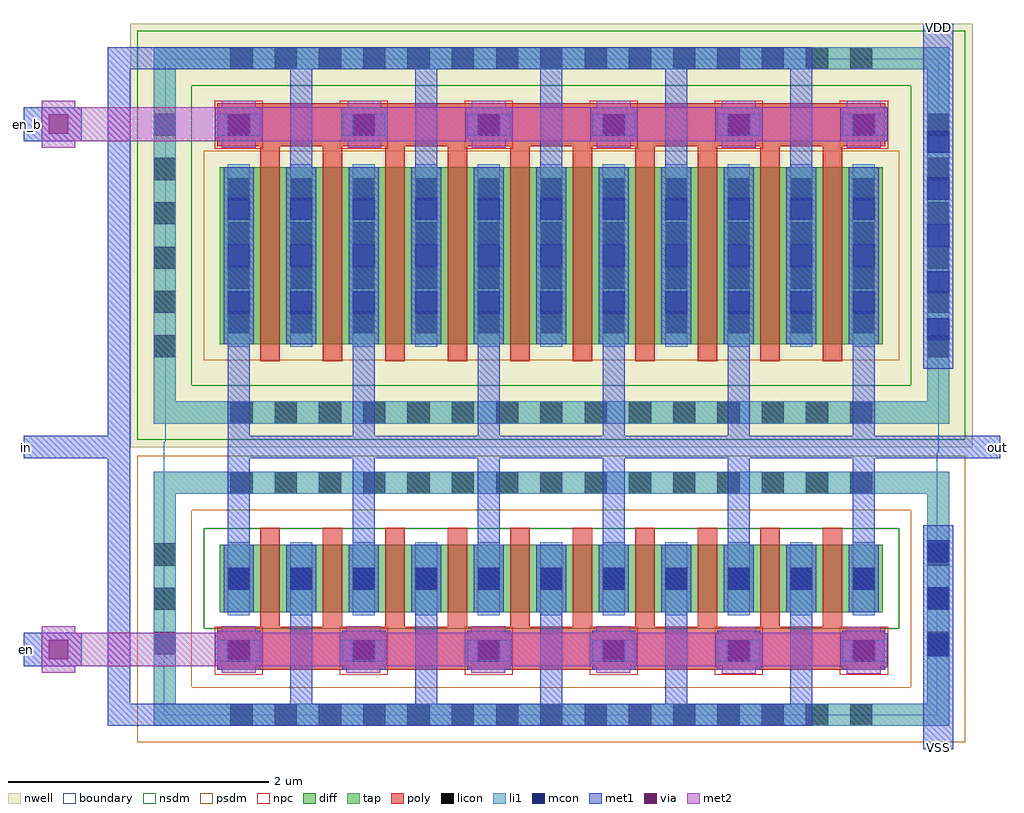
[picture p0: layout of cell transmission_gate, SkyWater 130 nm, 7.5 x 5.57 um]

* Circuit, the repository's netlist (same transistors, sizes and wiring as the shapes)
* transmission_gate
.subckt transmission_gate in out en en_b VDD VSS N=1 W_N=5.3 L_N=0.15 W_P=13.7 L_P=0.15
XM1 out en in VSS sky130_fd_pr__nfet_01v8 L=0.15 W=5.3 nf=10 ad='int((nf+1)/2) * W/nf * 0.29' as='int((nf+2)/2) * W/nf * 0.29'
+ pd='2*int((nf+1)/2) * (W/nf + 0.29)' ps='2*int((nf+2)/2) * (W/nf + 0.29)' nrd='0.29 / W' nrs='0.29 / W'
+ sa=0 sb=0 sd=0 mult='N' m='N' 
XM2 out en_b in VDD sky130_fd_pr__pfet_01v8 L=0.15 W=13.7 nf=10 ad='int((nf+1)/2) * W/nf * 0.29' as='int((nf+2)/2) * W/nf * 0.29'
+ pd='2*int((nf+1)/2) * (W/nf + 0.29)' ps='2*int((nf+2)/2) * (W/nf + 0.29)' nrd='0.29 / W' nrs='0.29 / W'
+ sa=0 sb=0 sd=0 mult='N' m='N' 
.ends

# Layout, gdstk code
from math import pi, radians
import gdstk
lib = gdstk.Library(unit=1e-6, precision=1e-09)
def R(c, l, rs):  # rectangles x0, y0, x1, y1
    for r in rs: c.add(gdstk.rectangle(r[:2], r[2:], *l))
def A(c, l, x, y, w, h, nx, ny, dx, dy):  # array of equal rectangles
    R(c, l, [(x+i*dx, y+j*dy, x+i*dx+w, y+j*dy+h) for i in range(nx) for j in range(ny)])
nwell = (64, 20)
diff = (65, 20)
tap = (65, 44)
poly = (66, 20)
licon = (66, 44)
li1 = (67, 20)
mcon = (67, 44)
met1 = (68, 20)
via = (68, 44)
met2 = (69, 20)
nsdm = (93, 44)
psdm = (94, 20)
npc = (95, 20)
boundary = (235, 4)

sky130_fd_pr__pfet_01v8_ = lib.new_cell('sky130_fd_pr__pfet_01v8_UNG2NQ')
R(sky130_fd_pr__pfet_01v8_, nwell, [(-3.23,-1.78,3.24,1.47)])
R(sky130_fd_pr__pfet_01v8_, diff, [(-2.54,-0.68,2.55,0.68)])
R(sky130_fd_pr__pfet_01v8_, tap, [(-3.05,-1.6,3.06,-1.43), (-3.05,-1.43,-2.88,1.12), (2.89,-1.43,3.06,1.12), (-3.05,1.12,3.06,1.29)])
A(sky130_fd_pr__pfet_01v8_, poly, -2.23, -0.84, 0.15, 1.65, 10, 1, 0.48, 0)
R(sky130_fd_pr__pfet_01v8_, poly, [(-2.56,-1.17,2.57,-0.84)])
A(sky130_fd_pr__pfet_01v8_, licon, -2.46, -1.6, 0.17, 0.17, 15, 2, 0.34, 2.72)
A(sky130_fd_pr__pfet_01v8_, licon, -3.05, -1.09, 0.17, 0.17, 1, 6, 0, 0.34)
A(sky130_fd_pr__pfet_01v8_, licon, -2.48, -1.09, 0.17, 0.17, 6, 1, 0.96, 0)
A(sky130_fd_pr__pfet_01v8_, licon, 2.89, -1.09, 0.17, 0.17, 1, 6, 0, 0.34)
A(sky130_fd_pr__pfet_01v8_, licon, -2.48, -0.595, 0.17, 0.17, 11, 4, 0.48, 0.34)
A(sky130_fd_pr__pfet_01v8_, li1, -2.56, -1.09, 0.33, 0.17, 6, 1, 0.96, 0)
A(sky130_fd_pr__pfet_01v8_, li1, -2.48, -0.7, 0.17, 1.4, 11, 1, 0.48, 0)
R(sky130_fd_pr__pfet_01v8_, li1, [(-3.05,-1.6,3.06,-1.43), (-3.05,-1.43,-2.88,1.12), (2.89,-1.43,3.06,1.12), (-3.05,1.12,3.06,1.29)])
A(sky130_fd_pr__pfet_01v8_, mcon, -2.48, -1.09, 0.17, 0.17, 6, 1, 0.96, 0)
A(sky130_fd_pr__pfet_01v8_, mcon, -2.48, -0.445, 0.17, 0.17, 11, 3, 0.48, 0.36)
A(sky130_fd_pr__pfet_01v8_, met1, -2.56, -1.13, 0.33, 0.25, 6, 1, 0.96, 0)
A(sky130_fd_pr__pfet_01v8_, met1, -2.51, -0.68, 0.23, 1.36, 11, 1, 0.48, 0)
R(sky130_fd_pr__pfet_01v8_, nsdm, [(-3.175,-1.725,3.185,-1.305), (-3.175,-1.305,-2.755,0.995), (2.765,-1.305,3.185,0.995), (-3.175,0.995,3.185,1.415)])
R(sky130_fd_pr__pfet_01v8_, psdm, [(-2.665,-0.805,2.675,0.805)])
A(sky130_fd_pr__pfet_01v8_, npc, -2.58, -1.19, 0.37, 0.37, 6, 1, 0.96, 0)
R(sky130_fd_pr__pfet_01v8_, boundary, [(-2.97,-1.51,2.97,1.51)])

sky130_fd_pr__nfet_01v8_ = lib.new_cell('sky130_fd_pr__nfet_01v8_6J4AMR')
R(sky130_fd_pr__nfet_01v8_, diff, [(-2.54,-0.26,2.55,0.26)])
R(sky130_fd_pr__nfet_01v8_, tap, [(-3.05,-1.13,3.06,-0.96), (-3.05,-0.96,-2.88,0.65), (2.89,-0.96,3.06,0.65), (-3.05,0.65,3.06,0.82)])
A(sky130_fd_pr__nfet_01v8_, poly, -2.23, -0.37, 0.15, 0.76, 10, 1, 0.48, 0)
R(sky130_fd_pr__nfet_01v8_, poly, [(-2.56,-0.7,2.57,-0.37)])
A(sky130_fd_pr__nfet_01v8_, licon, -2.46, -1.13, 0.17, 0.17, 15, 2, 0.34, 1.78)
A(sky130_fd_pr__nfet_01v8_, licon, -2.48, -0.64, 0.17, 0.17, 6, 1, 0.96, 0)
A(sky130_fd_pr__nfet_01v8_, licon, -3.05, -0.58, 0.17, 0.17, 1, 3, 0, 0.34)
A(sky130_fd_pr__nfet_01v8_, licon, 2.89, -0.58, 0.17, 0.17, 1, 3, 0, 0.34)
A(sky130_fd_pr__nfet_01v8_, licon, -2.48, -0.085, 0.17, 0.17, 11, 1, 0.48, 0)
A(sky130_fd_pr__nfet_01v8_, li1, -2.56, -0.64, 0.33, 0.17, 6, 1, 0.96, 0)
A(sky130_fd_pr__nfet_01v8_, li1, -2.48, -0.28, 0.17, 0.56, 11, 1, 0.48, 0)
R(sky130_fd_pr__nfet_01v8_, li1, [(-3.05,-1.13,3.06,-0.96), (-3.05,-0.96,-2.88,0.65), (2.89,-0.96,3.06,0.65), (-3.05,0.65,3.06,0.82)])
A(sky130_fd_pr__nfet_01v8_, mcon, -2.48, -0.64, 0.17, 0.17, 6, 1, 0.96, 0)
A(sky130_fd_pr__nfet_01v8_, mcon, -2.48, -0.085, 0.17, 0.17, 11, 1, 0.48, 0)
A(sky130_fd_pr__nfet_01v8_, met1, -2.56, -0.7, 0.33, 0.3, 6, 1, 0.96, 0)
A(sky130_fd_pr__nfet_01v8_, met1, -2.51, -0.26, 0.23, 0.52, 11, 1, 0.48, 0)
R(sky130_fd_pr__nfet_01v8_, nsdm, [(-2.665,-0.385,2.675,0.385)])
R(sky130_fd_pr__nfet_01v8_, psdm, [(-3.175,-1.255,3.185,-0.835), (-3.175,-0.835,-2.755,0.525), (2.765,-0.835,3.185,0.525), (-3.175,0.525,3.185,0.945)])
A(sky130_fd_pr__nfet_01v8_, npc, -2.58, -0.74, 0.37, 0.37, 6, 1, 0.96, 0)
R(sky130_fd_pr__nfet_01v8_, boundary, [(-2.97,-1.05,2.97,1.05)])

transmission_gate = lib.new_cell('transmission_gate')
R(transmission_gate, li1, [(5.855,0.405,6.025,1.405), (5.855,2.725,6.025,4.655)])
A(transmission_gate, mcon, 5.855, 0.46, 0.17, 0.17, 1, 3, 0, 0.36)
A(transmission_gate, mcon, 5.855, 2.885, 0.17, 0.17, 1, 5, 0, 0.36)
A(transmission_gate, met1, 0.965, 0.095, 0.17, 0.805, 5, 2, 0.96, 4.065)
A(transmission_gate, met1, 1.345, 0.38, 0.36, 0.26, 3, 1, 0.96, 0)
A(transmission_gate, met1, 0.485, 1.265, 0.17, 0.715, 6, 1, 0.96, 0)
A(transmission_gate, met1, 0.485, 2.15, 0.17, 0.89, 6, 1, 0.96, 0)
A(transmission_gate, met1, 2.31, 4.415, 0.36, 0.26, 4, 1, 0.96, 0)
R(transmission_gate, met1, [(5.825,-0.255,6.055,1.465), (-0.435,-0.075,4.975,0.095), (-0.435,0.095,-0.265,1.98), (4.23,0.375,4.59,0.635), (5.19,0.375,5.55,0.635), (-1.08,0.38,-0.635,0.64), (0.39,0.38,0.75,0.64), (-1.08,1.98,-0.265,2.15), (0.485,1.98,6.415,2.15), (-0.435,2.15,-0.265,4.965), (5.825,2.665,6.055,5.315), (-1.08,4.415,-0.635,4.675), (0.39,4.415,0.75,4.675), (1.355,4.415,1.715,4.675), (-0.435,4.965,4.975,5.135)])
A(transmission_gate, via, 1.45, 0.435, 0.15, 0.15, 3, 1, 0.96, 0)
A(transmission_gate, via, 2.415, 4.47, 0.15, 0.15, 4, 1, 0.96, 0)
R(transmission_gate, via, [(4.335,0.43,4.485,0.58), (5.295,0.43,5.445,0.58), (-0.89,0.435,-0.74,0.585), (0.495,0.435,0.645,0.585), (-0.89,4.47,-0.74,4.62), (0.495,4.47,0.645,4.62), (1.46,4.47,1.61,4.62)])
A(transmission_gate, met2, 1.395, 0.33, 0.26, 0.05, 3, 2, 0.96, 0.31)
A(transmission_gate, met2, 2.36, 4.365, 0.26, 0.05, 4, 2, 0.96, 0.31)
R(transmission_gate, met2, [(4.28,0.325,4.54,0.38), (5.24,0.325,5.5,0.38), (-0.945,0.33,-0.685,0.38), (0.44,0.33,0.7,0.38), (-0.945,0.38,5.535,0.64), (-0.945,0.64,-0.685,0.69), (0.44,0.64,0.7,0.69), (4.28,0.64,4.54,0.685), (5.24,0.64,5.5,0.685), (-0.945,4.365,-0.685,4.415), (0.44,4.365,0.7,4.415), (1.405,4.365,1.665,4.415), (-0.945,4.415,5.535,4.675), (-0.945,4.675,-0.685,4.725), (0.44,4.675,0.7,4.725), (1.405,4.675,1.665,4.725)])
transmission_gate.add(gdstk.Reference(sky130_fd_pr__pfet_01v8_, (2.975,3.535), rotation=pi))
transmission_gate.add(gdstk.Reference(sky130_fd_pr__nfet_01v8_, (2.965,1.055)))
transmission_gate.add(gdstk.Label('in', (-1.06,2.065), layer=68, texttype=16))
transmission_gate.add(gdstk.Label('out', (6.395,2.06), layer=68, texttype=16))
transmission_gate.add(gdstk.Label('en', (-1.06,0.51), layer=68, texttype=16))
transmission_gate.add(gdstk.Label('en_b', (-1.055,4.545), layer=68, texttype=16))
transmission_gate.add(gdstk.Label('VDD', (5.94,5.29), layer=68, texttype=16))
transmission_gate.add(gdstk.Label('VSS', (5.94,-0.24), layer=68, texttype=16))

lib.write_gds('transmission_gate.gds')
